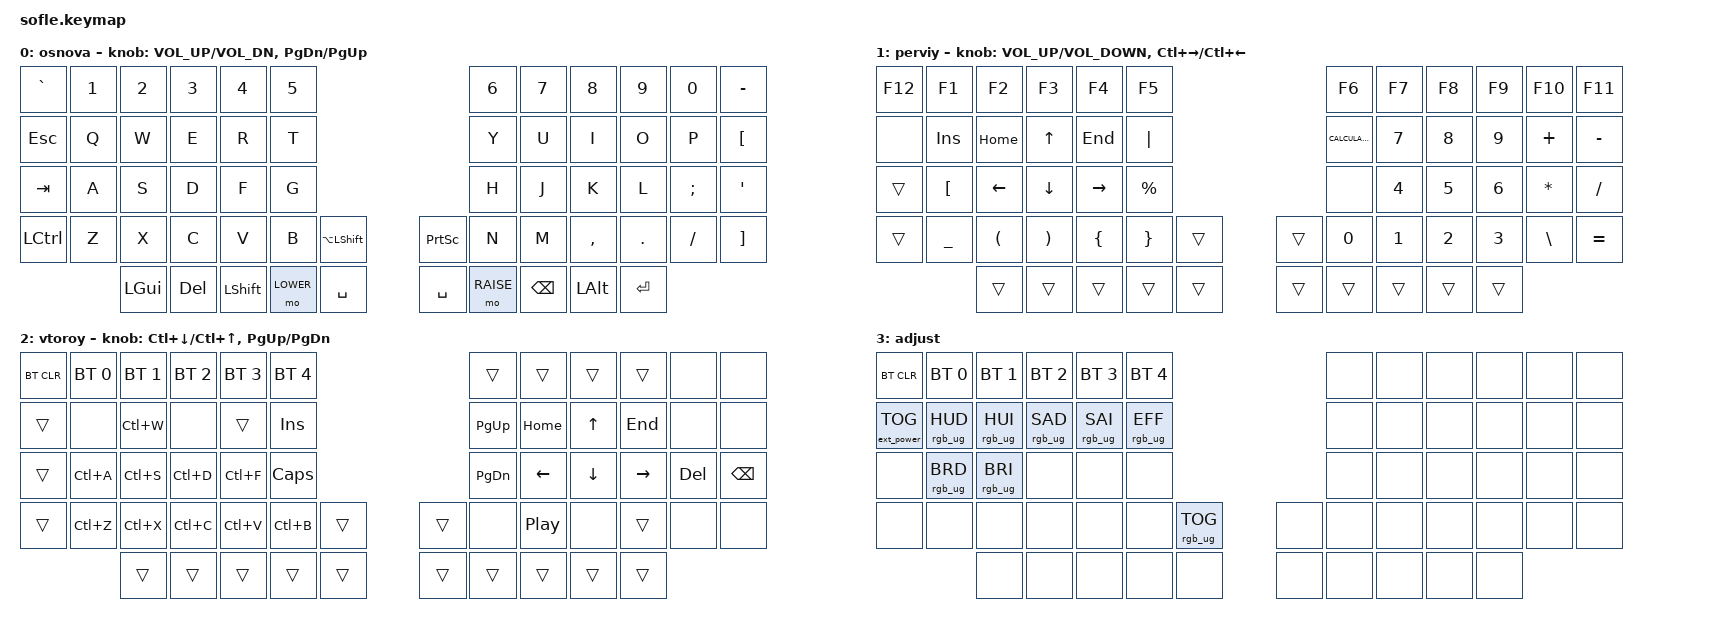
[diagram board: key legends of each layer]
/*
 * Copyright (c) 2020 The ZMK Contributors
 *
 * SPDX-License-Identifier: MIT
 */

#include <behaviors.dtsi>
#include <dt-bindings/zmk/bt.h>
#include <dt-bindings/zmk/ext_power.h>
#include <dt-bindings/zmk/keys.h>
#include <dt-bindings/zmk/rgb.h>

#define BASE 0
#define LOWER 1
#define RAISE 2
#define ADJUST 3

/ {
    // Activate ADJUST layer by pressing raise and lower

    conditional_layers {
        compatible = "zmk,conditional-layers";

        adjust_layer {
            if-layers = <LOWER RAISE>;
            then-layer = <ADJUST>;
        };
    };

    combos { compatible = "zmk,combos"; };

    keymap {
        compatible = "zmk,keymap";

        default_layer {
            display-name = "osnova";

            // ------------------------------------------------------------------------------------------------------------
            // |   `   |  1  |  2  |  3   |  4   |  5   |                   |  6   |  7    |  8    |  9   |   0   |   =   |
            // |  ESC  |  Q  |  W  |  E   |  R   |  T   |                   |  Y   |  U    |  I    |  O   |   P   |   [   |
            // |  TAB  |  A  |  S  |  D   |  F   |  G   |                   |  H   |  J    |  K    |  L   |   ;   |   ]   |
            // | LCTRL |  Z  |  X  |  C   |  V   |  B   |  MUTE  |  |       |  N   |  M    |  ,    |  .   |   /   |   '   |
            //               | GUI | DEL  |LSHIFT| LOWER|  ENTER |  | SPACE | RAISE|BACKSPC| ALT   | GUI  |

            bindings = <
&kp GRAVE  &kp N1  &kp N2    &kp N3   &kp N4          &kp N5                                            &kp N6     &kp N7         &kp N8        &kp N9     &kp N0    &kp MINUS
&kp ESC    &kp Q   &kp W     &kp E    &kp R           &kp T                                             &kp Y      &kp U          &kp I         &kp O      &kp P     &kp LEFT_BRACKET
&kp TAB    &kp A   &kp S     &kp D    &kp F           &kp G                                             &kp H      &kp J          &kp K         &kp L      &kp SEMI  &kp SQT
&kp LCTRL  &kp Z   &kp X     &kp C    &kp V           &kp B      &kp LA(LEFT_SHIFT)    &kp PRINTSCREEN  &kp N      &kp M          &kp COMMA     &kp DOT    &kp FSLH  &kp RIGHT_BRACKET
                   &kp LGUI  &kp DEL  &kp LEFT_SHIFT  &mo LOWER  &kp SPACE             &kp SPACE        &mo RAISE  &kp BACKSPACE  &kp LEFT_ALT  &kp ENTER
            >;

            sensor-bindings =
                <&inc_dec_kp C_VOLUME_UP C_VOL_DN>,
                <&inc_dec_kp PAGE_DOWN PAGE_UP>;
        };

        lower_layer {
            display-name = "perviy";

            // TODO: Some binds are waiting for shifted keycode support.
            // ------------------------------------------------------------------------------------------------------------
            // |       |  F1 |  F2 |  F3  |  F4  |  F5  |                   |  F6  |  F7   |  F8   |  F9  |  F10  |  F11  |
            // |   `   |  1  |  2  |  3   |  4   |  5   |                   |  6   |  7    |  8    |  9   |   0   |  F12  |
            // |       |  !  |  @  |  #   |  $   |  %   |                   |  ^   |  &    |  *    |  (   |   )   |   |   |
            // |       |  =  |  -  |  +   |  {   |  }   |        |  |       |  [   |  ]    |  ;    |  :   |   \   |       |
            //               |     |      |      |      |        |  |       |      |       |       |      |

            bindings = <
&kp F12  &kp F1            &kp F2                &kp F3                 &kp F4          &kp F5                       &kp F6            &kp F7        &kp F8        &kp F9        &kp F10       &kp F11
&none    &kp INSERT        &kp HOME              &kp UP_ARROW           &kp END         &kp PIPE                     &kp K_CALCULATOR  &kp N7        &kp N8        &kp N9        &kp PLUS      &kp MINUS
&trans   &kp LEFT_BRACKET  &kp LEFT              &kp DOWN_ARROW         &kp RIGHT       &kp PRCNT                    &none             &kp NUMBER_4  &kp N5        &kp NUMBER_6  &kp ASTERISK  &kp SLASH
&trans   &kp UNDERSCORE    &kp LEFT_PARENTHESIS  &kp RIGHT_PARENTHESIS  &kp LEFT_BRACE  &kp RBRC   &trans    &trans  &kp N0            &kp NUMBER_1  &kp NUMBER_2  &kp NUMBER_3  &kp BSLH      &kp EQUAL
                           &trans                &trans                 &trans          &trans     &trans    &trans  &trans            &trans        &trans        &trans
            >;

            sensor-bindings =
                <&inc_dec_kp C_VOLUME_UP C_VOLUME_DOWN>,
                <&inc_dec_kp LC(RIGHT) LC(LEFT_ARROW)>;
        };

        raise_layer {
            display-name = "vtoroy";

            // ------------------------------------------------------------------------------------------------------------
            // | BTCLR | BT1  | BT2  |  BT3  |  BT4  |  BT5 |                |      |      |       |      |       |       |
            // |       | INS  | PSCR | GUI   |       |      |                | PGUP |      |   ^   |      |       |       |
            // |       | ALT  | CTRL | SHIFT |       | CAPS |                | PGDN |   <- |   v   |  ->  |  DEL  | BKSPC |
            // |       | UNDO | CUT  | COPY  | PASTE |      |      |  |      |      |      |       |      |       |       |
            //                |      |       |       |      |      |  |      |      |      |       |      |

            bindings = <
&bt BT_CLR  &bt BT_SEL 0  &bt BT_SEL 1  &bt BT_SEL 2  &bt BT_SEL 3  &bt BT_SEL 4                    &trans     &trans            &trans    &trans     &none    &none
&trans      &none         &kp LC(W)     &none         &trans        &kp INS                         &kp PG_UP  &kp HOME          &kp UP    &kp END    &none    &none
&trans      &kp LC(A)     &kp LC(S)     &kp LC(D)     &kp LC(F)     &kp CLCK                        &kp PG_DN  &kp LEFT          &kp DOWN  &kp RIGHT  &kp DEL  &kp BSPC
&trans      &kp LC(Z)     &kp LC(X)     &kp LC(C)     &kp LC(V)     &kp LC(B)     &trans    &trans  &none      &kp C_PLAY_PAUSE  &none     &trans     &none    &none
                          &trans        &trans        &trans        &trans        &trans    &trans  &trans     &trans            &trans    &trans
            >;

            sensor-bindings =
                <&inc_dec_kp LC(DOWN_ARROW) LC(UP_ARROW)>,
                <&inc_dec_kp PG_UP PG_DN>;
        };

        adjust_layer {
            // ----------------------------------------------------------------------------------------------------------------------------
            // | BTCLR  |  BT1    |  BT2    |   BT3   |   BT4   |   BT5   |                  |      |      |       |      |       |       |
            // | EXTPWR | RGB_HUD | RGB_HUI | RGB_SAD | RGB_SAI | RGB_EFF |                  |      |      |       |      |       |       |
            // |        | RGB_BRD | RGB_BRI |         |         |         |                  |      |      |       |      |       |       |
            // |        |         |         |         |         |         | RGB_TOG | |      |      |      |       |      |       |       |
            //                    |         |         |         |         |         | |      |      |      |       |      |

            display-name = "adjust";
            bindings = <
&bt BT_CLR         &bt BT_SEL 0     &bt BT_SEL 1     &bt BT_SEL 2     &bt BT_SEL 3     &bt BT_SEL 4                               &none  &none  &none  &none  &none  &none
&ext_power EP_TOG  &rgb_ug RGB_HUD  &rgb_ug RGB_HUI  &rgb_ug RGB_SAD  &rgb_ug RGB_SAI  &rgb_ug RGB_EFF                            &none  &none  &none  &none  &none  &none
&none              &rgb_ug RGB_BRD  &rgb_ug RGB_BRI  &none            &none            &none                                      &none  &none  &none  &none  &none  &none
&none              &none            &none            &none            &none            &none            &rgb_ug RGB_TOG    &none  &none  &none  &none  &none  &none  &none
                                    &none            &none            &none            &none            &none              &none  &none  &none  &none  &none
            >;
        };
    };
};
